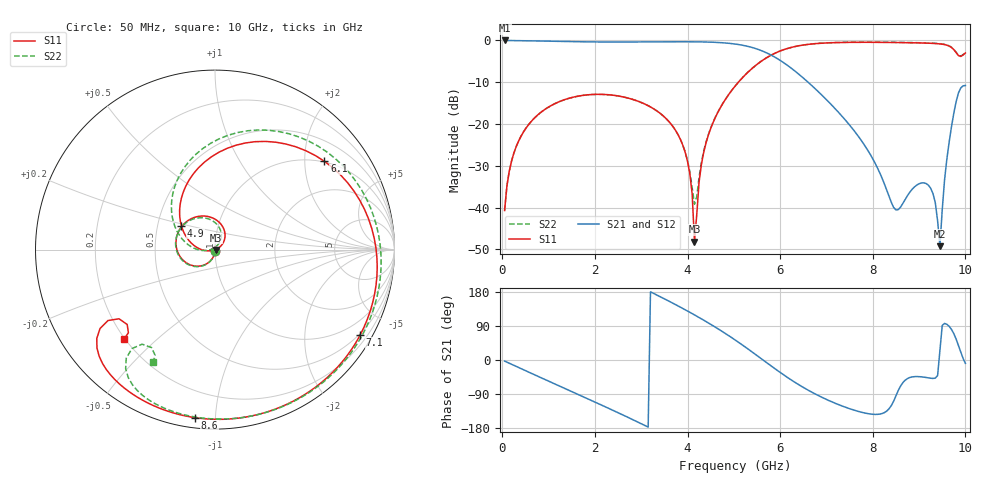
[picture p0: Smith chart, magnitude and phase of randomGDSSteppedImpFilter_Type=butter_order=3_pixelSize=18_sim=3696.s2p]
! freq	dB(S11)	phase(S11)	dB(S12)	phase(S12)
!  dB(S21)	phase(S21)	dB(S22)	phase(S22)
!S-par simulation data
#  GHz  S  DB  R 50
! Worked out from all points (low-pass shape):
!   200 points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, 50 MHz to 10 GHz, reference 50 ohm
!   highest |S21| = -0.01 dB at 50 MHz (marker M1); lowest = -49.2 dB at 9.45 GHz (marker M2)
!   |S21| within 3 dB of the highest: start of sweep to 5.713 GHz
!   lowest |S11| = -48.1 dB at 4.15 GHz (marker M3), VSWR 1.01, Z = 50.4 - j0.18 ohm
!   |S11| at or under -10 dB: start of sweep to 5.097 GHz
!   |S22| runs from -40.7 to -0.4 dB; largest |S21 - S12| = 0
!   S11 on the Smith chart (normalised r, x): 50 MHz: 1.00, -0.02; 4.9 GHz: 0.66, +0.19; 6.1 GHz: 0.98, +2.50; 7.1 GHz: 0.46, -3.62; 8.6 GHz: 0.05, -0.89; 10 GHz: 0.20, -0.40
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0.05  -40.69 -92.0  -0.01 -2.9  -0.01 -2.9  -40.69 -91.9
0.2  -28.85 -101.4  -0.02 -11.3  -0.02 -11.3  -28.85 -101.0
0.5  -21.17 -119.0  -0.07 -28.1  -0.07 -28.1  -21.17 -118.1
1.75  -13.13 170.3  -0.33 -97.2  -0.33 -97.2  -13.13 173.7
2.7  -13.74 115.3  -0.37 -150.5  -0.37 -150.5  -13.75 122.2
3.4  -17.36 71.9  -0.33 167.7  -0.33 167.7  -17.37 83.3
3.95  -26.79 34.5  -0.32 132.6  -0.32 132.6  -26.69 57.7
4.1  -36.74 21.3  -0.32 122.5  -0.32 122.5  -35.20 72.3
4.15  -48.10 -26.9  -0.33 119.0  -0.33 119.0  -39.19 107.8
4.35  -26.74 -171.7  -0.36 105.0  -0.36 105.0  -26.43 -174.2
4.9  -12.77 144.6  -0.69 63.4  -0.69 63.4  -12.75 155.0
5.05  -10.61 132.0  -0.89 51.0  -0.89 51.0  -10.61 143.5
5.55  -5.31 87.7  -2.25 7.3  -2.25 7.3  -5.31 101.2
6.1  -2.12 38.9  -5.51 -41.3  -5.51 -41.3  -2.12 53.1
6.7  -0.83 -6.2  -10.97 -86.0  -10.97 -86.0  -0.82 8.2
7.1  -0.55 -30.4  -15.30 -109.6  -15.30 -109.6  -0.54 -16.1
8.35  -0.48 -87.4  -37.24 -128.9  -37.24 -128.9  -0.44 -72.9
8.6  -0.51 -96.8  -39.86 -68.8  -39.86 -68.8  -0.47 -82.2
9.2  -0.66 -119.3  -34.61 -47.1  -34.61 -47.1  -0.61 -104.1
9.45  -0.83 -129.7  -49.21 26.5  -49.21 26.5  -0.78 -114.1
9.7  -1.68 -143.1  -20.64 80.6  -20.64 80.6  -1.63 -126.9
10  -3.00 -135.5  -10.78 -8.8  -10.78 -8.8  -2.89 -118.8
